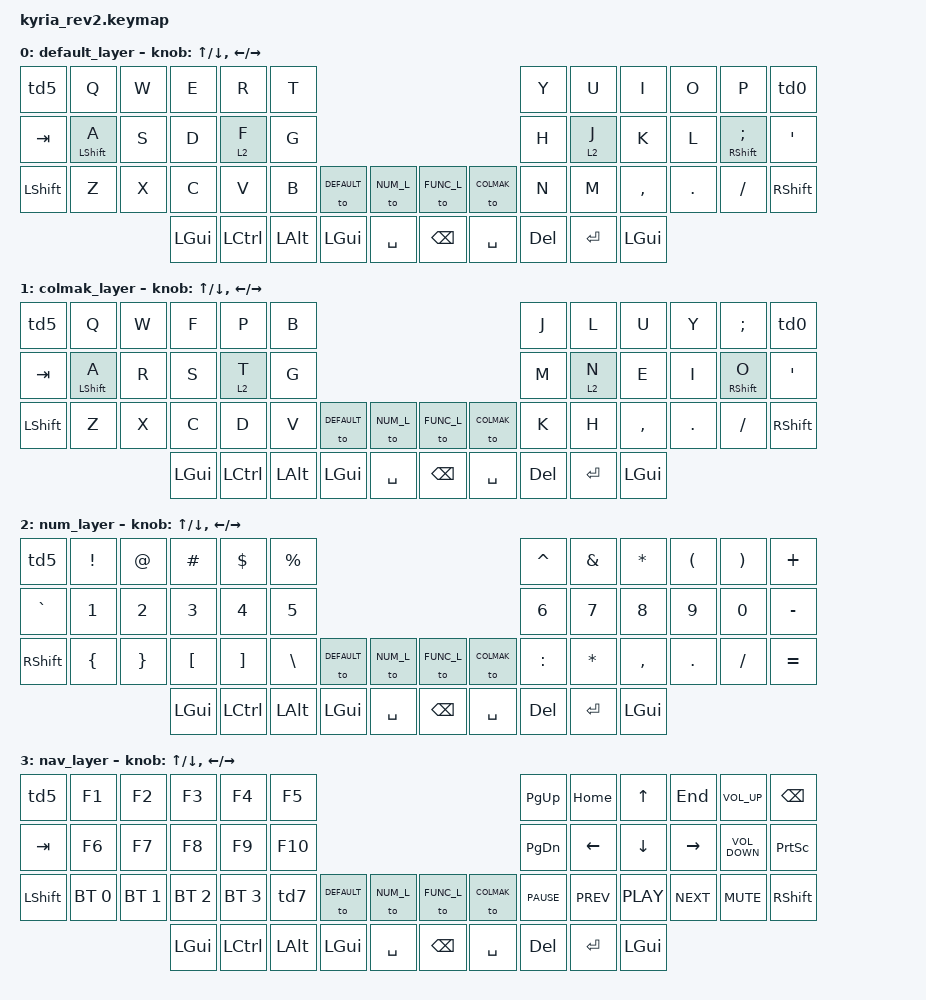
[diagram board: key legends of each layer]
/*
 * Copyright (c) 2020 The ZMK Contributors
 * SPDX-License-Identifier: MIT
 * edited with https://nickcoutsos.github.io/keymap-editor/
 */

#include <behaviors.dtsi>
#include <dt-bindings/zmk/bt.h>
#include <dt-bindings/zmk/keys.h>
#include <dt-bindings/zmk/outputs.h>

&left_encoder { steps = <36>; };

&right_encoder { steps = <36>; };

&sensors { triggers-per-rotation = <18>; };

#define DEFAULT 0
#define COLMAK 1
#define NUM_L 2
#define FUNC_L 3

/ {
    behaviors {
        td0: tap_dance_0 {
            compatible = "zmk,behavior-tap-dance";
            label = "TAP_DANCE_0";
            #binding-cells = <0>;
            tapping-term-ms = <200>;
            bindings = <&kp LBKT>, <&kp RBKT>, <&kp BSLH>;
        };

        td1: tap_dance_1 {
            compatible = "zmk,behavior-tap-dance";
            label = "TAP_DANCE_1";
            #binding-cells = <0>;
            tapping-term-ms = <200>;
            bindings = <&kp DOT>, <&kp EXCL>;
        };

        td2: tap_dance_2 {
            compatible = "zmk,behavior-tap-dance";
            label = "TAP_DANCE_2";
            #binding-cells = <0>;
            tapping-term-ms = <200>;
            bindings = <&kp MINUS>, <&kp EQUAL>;
        };

        td3: tap_dance_3 {
            compatible = "zmk,behavior-tap-dance";
            label = "TAP_DANCE_3";
            #binding-cells = <0>;
            tapping-term-ms = <200>;
            bindings = <&kp LSHFT>, <&kp CAPS>;
        };

        td4: tap_dance_4 {
            compatible = "zmk,behavior-tap-dance";
            label = "TAP_DANCE_LAYERS";
            #binding-cells = <0>;
            tapping-term-ms = <200>;
            bindings = <&to 1>, <&to 2>, <&to 3>;
        };

        td5: tap_dance_5 {
            compatible = "zmk,behavior-tap-dance";
            label = "TAP_DANCE_GRAVE_ESC";
            #binding-cells = <0>;
            tapping-term-ms = <200>;
            bindings = <&kp ESC>, <&kp GRAVE>;
        };

        td6: tap_dance_6 {
            compatible = "zmk,behavior-tap-dance";
            label = "TAP_DANCE_SQT_MINUS";
            #binding-cells = <0>;
            tapping-term-ms = <200>;
            bindings = <&kp SQT>, <&kp MINUS>;
        };

        td7: tap_dance_7 {
            compatible = "zmk,behavior-tap-dance";
            label = "TAP_DANCE_OUT_TOG_BT_CLR";
            #binding-cells = <0>;
            tapping-term-ms = <200>;
            bindings = <&kp V>, <&out OUT_TOG>, <&bt BT_CLR>;
        };

        left_shift: left_shift {
            compatible = "zmk,behavior-hold-tap";
            label = "LEFT_SHIFT";
            bindings = <&kp>, <&kp>;

            #binding-cells = <2>;
            tapping-term-ms = <200>;
            flavor = "tap-preferred";
            retro-tap;
            hold-trigger-key-positions = <11 10 9 8 7 6 18 19 20 21 22 23 39 38 37 36 35 34>;
        };

        right_shift: right_shift {
            compatible = "zmk,behavior-hold-tap";
            label = "RIGHT_SHIFT";
            bindings = <&kp>, <&kp>;

            #binding-cells = <2>;
            tapping-term-ms = <200>;
            flavor = "tap-preferred";
            retro-tap;
            hold-trigger-key-positions = <0 1 2 3 4 5 12 13 14 15 16 17 24 25 26 27 28 29>;
        };

        left_num: left_num {
            compatible = "zmk,behavior-hold-tap";
            label = "LEFT_NUM";
            bindings = <&mo>, <&kp>;

            #binding-cells = <2>;
            tapping-term-ms = <200>;
            flavor = "tap-preferred";
            retro-tap;
            hold-trigger-key-positions = <11 10 9 8 7 6 18 19 20 21 22 23 39 38 37 36 35 34>;
        };

        right_num: right_num {
            compatible = "zmk,behavior-hold-tap";
            label = "RIGHT_NUM";
            bindings = <&mo>, <&kp>;

            #binding-cells = <2>;
            tapping-term-ms = <200>;
            flavor = "tap-preferred";
            retro-tap;
            hold-trigger-key-positions = <0 1 2 3 4 5 12 13 14 15 16 17 24 25 26 27 28 29>;
        };
    };

    keymap {
        compatible = "zmk,keymap";

        default_layer {
            // ---------------------------------------------------------------------------------------------------------------------------------
            // |  ESC,`  |  Q  |  W  |  E   |  R   |  T   |                                          |  Y   |  U    |  I    |  O   |   P   |   [,],\  |
            // |  TAB  |  A  |  S  |  D   |  F   |  G   |                                          |  H   |  J    |  K    |  L   |   ;   |   ',-      |
            // | SHFT-CAPS |  Z  |  X  |  C   |  V   |  B   | DEFAULT  | NUM_L  |  | FUNC_L    | COLMAK  |  N   |  M    |  ,    |  . ! |   /   | SHFT-CAPS |
            //                     | LGUI| LCTRL| LALT |  LGUI   |   SPACE |  |  BSPC   |  SPACE  | DEL  | RET   | LGUI |
            // ---------------------------------------------------------------------------------------------------------------------------------

            bindings = <
&td5            &kp Q                     &kp W  &kp E     &kp R          &kp T                                                     &kp Y    &kp U           &kp I      &kp O       &kp P                               &td0
&kp TAB         &left_shift LEFT_SHIFT A  &kp S  &kp D     &left_num 2 F  &kp G                                                     &kp H    &right_num 2 J  &kp K      &kp L       &right_shift RIGHT_SHIFT SEMICOLON  &kp APOSTROPHE
&kp LEFT_SHIFT  &kp Z                     &kp X  &kp C     &kp V          &kp B     &to DEFAULT  &to NUM_L  &to FUNC_L  &to COLMAK  &kp N    &kp M           &kp COMMA  &kp PERIOD  &kp FSLH                            &kp RIGHT_SHIFT
                                                 &kp LGUI  &kp LCTRL      &kp LALT  &kp LGUI     &kp SPACE  &kp BSPC    &kp SPACE   &kp DEL  &kp RET         &kp LGUI
            >;

            sensor-bindings = <
				&inc_dec_kp UP_ARROW DOWN_ARROW 
				&inc_dec_kp LEFT_ARROW RIGHT_ARROW 
            >;
        };

        colmak_layer {
            // ---------------------------------------------------------------------------------------------------------------------------------
            // |  ESC,`  |  q  |  W  |  F   |  P   |  B   |                                          |  J   |  L    |  U    |  Y   |   ;   |   [,],\  |
            // |  TAB  |  A  |  R  |  S   |  T   |  G   |                                          |  M   |  N    |  E    |  I   |   O   |   ',-      |
            // | SHFT-CAPS |  Z  |  X  |  C   |  D   |  V   | DEFAULT  | NUM_L  |  | FUNC_L    | COLMAK  |  K   |  H    |  ,    |  . ! |   /   | SHFT-CAPS |
            //                     | LGUI| LCTRL| LALT |  LGUI   |   SPACE |  |  BSPC   |  SPACE  | DEL  | RET   | LGUI |
            // ---------------------------------------------------------------------------------------------------------------------------------

            bindings = <
&td5            &kp Q                     &kp W  &kp F     &kp P          &kp B                                                     &kp J    &kp L           &kp U      &kp Y       &kp SEMI                    &td0
&kp TAB         &left_shift LEFT_SHIFT A  &kp R  &kp S     &left_num 2 T  &kp G                                                     &kp M    &right_num 2 N  &kp E      &kp I       &right_shift RIGHT_SHIFT O  &kp APOSTROPHE
&kp LEFT_SHIFT  &kp Z                     &kp X  &kp C     &kp D          &kp V     &to DEFAULT  &to NUM_L  &to FUNC_L  &to COLMAK  &kp K    &kp H           &kp COMMA  &kp PERIOD  &kp FSLH                    &kp RIGHT_SHIFT
                                                 &kp LGUI  &kp LCTRL      &kp LALT  &kp LGUI     &kp SPACE  &kp BSPC    &kp SPACE   &kp DEL  &kp RET         &kp LGUI
            >;

            sensor-bindings = <
				&inc_dec_kp UP_ARROW DOWN_ARROW 
				&inc_dec_kp LEFT_ARROW RIGHT_ARROW 
            >;
        };

        num_layer {
            // ---------------------------------------------------------------------------------------------------------------------------------
            // |  ESC,`   |  !  |  @  |  #   |  $   |  %   |                                                      |  ^   |  &    |  *    |  (   |   )  |  + |
            // |  TAB  |  1  |  2  |  3   |  4   |  5   |                                                      |  6   |  7    |  8    |  9   |   0  |   -  |
            // | SHFT-CAPS |  {  |  }  |  [   |  ]   |  \   | DEFAULT  | NUM_L  |  | FUNC_L    | COLMAK  |  :   |  *    |  ,    |  .   |   /   |   =  |
            //                     | LGUI| LCTRL| LALT |  LGUI   |   SPACE |  |  BSPC   |  SPACE  | DEL  | RET   | LGUI |
            // ---------------------------------------------------------------------------------------------------------------------------------

            bindings = <
&td5             &kp EXCL  &kp AT    &kp POUND  &kp DLLR   &kp PRCNT                                                  &kp CARET  &kp AMPS  &kp STAR   &kp LPAR  &kp RPAR  &kp PLUS
&kp GRAVE        &kp N1    &kp N2    &kp N3     &kp N4     &kp N5                                                     &kp N6     &kp N7    &kp N8     &kp N9    &kp N0    &kp MINUS
&kp RIGHT_SHIFT  &kp LBRC  &kp RBRC  &kp LBKT   &kp RBKT   &kp BSLH   &to DEFAULT  &to NUM_L  &to FUNC_L  &to COLMAK  &kp COLON  &kp STAR  &kp COMMA  &kp DOT   &kp FSLH  &kp EQUAL
                                     &kp LGUI   &kp LCTRL  &kp LALT   &kp LGUI     &kp SPACE  &kp BSPC    &kp SPACE   &kp DEL    &kp RET   &kp LGUI
            >;

            sensor-bindings = <
				&inc_dec_kp UP_ARROW DOWN_ARROW 
				&inc_dec_kp LEFT_ARROW RIGHT_ARROW 
            >;
        };

        nav_layer {
            // ---------------------------------------------------------------------------------------------------------------------------------
            // |  ESC,`       |  F1 |  F2 |  F3  |  F4  |  F5  |                                                |  PG_UP  |  HOME |  UP   |  END  |   C_VOL_UP | BSPC  |
            // |  TAB      |  F6 |  F7 |  F8  |  F9  |  F10 |                                                |  PG_DN  |  LEFT |  DOWN | RIGHT |   C_VOL_DN |   PSCRN  |
            // | SHFT-CAPS |  BT0  |  BT1  |  BT2   |  BT3   |  OUT_TOG,BT_CLR   | DEFAULT  | NUM_L  |  | FUNC_L    | COLMAK  |  C_PAUSE   |  C_PREV    |  C_PLAY    |  C_NEXT   |   C_MUTE |  SHFT-CAPS  |
            //                            | LGUI| LCTRL| LALT |  LGUI   |   SPACE |  |  BSPC   |  SPACE  | DEL  | RET   | LGUI |
            // ---------------------------------------------------------------------------------------------------------------------------------

            bindings = <
&td5            &kp F1        &kp F2        &kp F3        &kp F4        &kp F5                                                    &kp PG_UP    &kp HOME    &kp UP      &kp END     &kp C_VOL_UP       &kp BSPC
&kp TAB         &kp F6        &kp F7        &kp F8        &kp F9        &kp F10                                                   &kp PG_DN    &kp LEFT    &kp DOWN    &kp RIGHT   &kp C_VOLUME_DOWN  &kp PSCRN
&kp LEFT_SHIFT  &bt BT_SEL 0  &bt BT_SEL 1  &bt BT_SEL 2  &bt BT_SEL 3  &td7      &to DEFAULT  &to NUM_L  &to FUNC_L  &to COLMAK  &kp C_PAUSE  &kp C_PREV  &kp C_PLAY  &kp C_NEXT  &kp C_MUTE         &kp RIGHT_SHIFT
                                            &kp LGUI      &kp LCTRL     &kp LALT  &kp LGUI     &kp SPACE  &kp BSPC    &kp SPACE   &kp DEL      &kp RET     &kp LGUI
            >;

            sensor-bindings = <
				&inc_dec_kp UP_ARROW DOWN_ARROW 
				&inc_dec_kp LEFT_ARROW RIGHT_ARROW 
            >;
        };
    };
};
